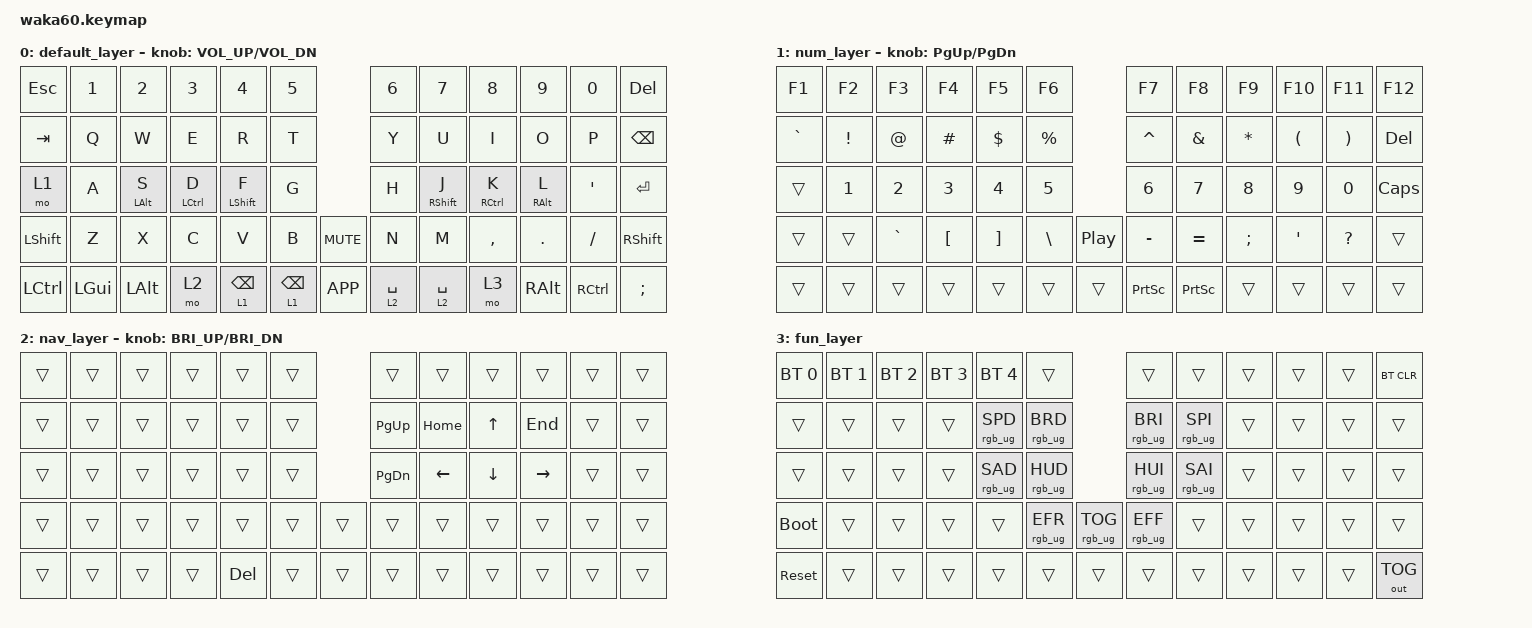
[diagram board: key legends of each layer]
//*
//  * Copyright (c) 2020 The ZMK Contributors
//  *
//  * SPDX-License-Identifier: MIT
//  */

#include <behaviors.dtsi>
#include <dt-bindings/zmk/bt.h>
#include <dt-bindings/zmk/keys.h>
#include <dt-bindings/zmk/outputs.h>
#include <dt-bindings/zmk/rgb.h>

&encoder { status = "okay"; };

/ {
    behaviors {
        ht: hold_tap {
            compatible = "zmk,behavior-hold-tap";
            #binding-cells = <2>;
            flavor = "balanced";
            tapping-term-ms = <200>;
            quick-tap-ms = <220>;
            require-prior-idle-ms = <125>;
            bindings = <&kp>, <&kp>;
        };
        mt: mod_tap {

            #binding-cells = <2>;
            flavor = "balanced";
            tapping-term-ms = <180>;
            quick-tap-ms = <100>;
            require-prior-idle-ms = <75>;
            retro-tap;
            bindings = <&kp>, <&kp>;
        };
        combos {
            compatible = "zmk,combos";
            combo_esc {
                 timeout-ms = <50>;
                 key-positions = <14 13>;
                 layers = <0>;
                 bindings = <&kp ESC>;
             };
             combo_tab {
                 timeout-ms = <50>;
                 key-positions = <25 14>;
                 layers = <0>;
                 bindings = <&kp TAB>;
             };
             combo_backspaceword {
                 timeout-ms = <50>;
                 key-positions = <32 31>;
                 layers = <0>;
                 bindings = <&kp RC(BSPC)>;
             };
             combo_caps {
                 timeout-ms = <50>;
                 key-positions = <48 36>;
                 layers = <0>;
                 bindings = <&kp CAPS>;
             };
             combo_caps1 {
                 timeout-ms = <50>;
                 key-positions = <28 31>;
                 layers = <0>;
                 bindings = <&kp CAPS>;
             };
        };
    };

    keymap {
        compatible = "zmk,keymap";

        default_layer {
            // layer 0 ----------------------------------------------------------------------------------------------------------------------------
            // |   ESC   |    1    |    2    |    3    |    4    |    5    |---------|    6    |    7    |    8    |    9    |    0    |  DELETE |
            // |   TAB   |    Q    |    W    |    E    |    R    |    T    |---------|    Y    |    U    |    I    |    O    |    P    |BACKSPACE|
            // |  Mo(1)  |    A    |  alt/S  |  ctrl/D |  shft/F |    G    |---------|    H    |  shft/J |  ctrl/K |  alt/L  |    '    |  ENTER  |
            // |  SHIFT  |    Z    |    X    |    C    |    V    |    B    |Vol+-mute|    N    |    M    |    ,    |    .    |    /    |  SHIFT  |
            // |  CTRL   |   WIN   |   ALT   |  Mo(2)  | L1/BSPC | L1/BSPC |  SPACE  | L2/SPC  | L2/SPC  |  Mo(3)  |   ALT   |   CTRL  |   CTRL  |

            bindings = <
&kp ESC     &kp N1    &kp N2      &kp N3       &kp N4        &kp N5                  &kp N6       &kp N7        &kp N8       &kp N9      &kp N0     &kp DEL
&kp TAB     &kp Q     &kp W       &kp E        &kp R         &kp T                   &kp Y        &kp U         &kp I        &kp O       &kp P      &kp BSPC
&mo 1       &kp A     &mt LALT S  &mt LCTRL D  &mt LSHIFT F  &kp G                   &kp H        &mt RSHIFT J  &mt RCTRL K  &mt RALT L  &kp APOS   &kp ENTER
&kp LSHIFT  &kp Z     &kp X       &kp C        &kp V         &kp B       &kp C_MUTE  &kp N        &kp M         &kp COMMA    &kp DOT     &kp SLASH  &kp RSHIFT
&kp LCTRL   &kp LGUI  &kp LALT    &mo 2        &lt 1 BSPC    &lt 1 BSPC  &kp K_APP   &lt 2 SPACE  &lt 2 SPACE   &mo 3        &kp RALT    &kp RCTRL  &kp SEMI
            >;

            sensor-bindings = <&inc_dec_kp C_VOL_UP C_VOL_DN>;
        };

        num_layer {
            // layer 1 ----------------------------------------------------------------------------------------------------------------------------
            // |   F1    |    F2   |    F3   |    F4   |    F5   |    F6   |---------|    F7   |    F8   |    F9   |   F10   |   F11   |   F12   |
            // |    `    |    !    |     @   |    #    |    $    |     %   |---------|    ^    |    &    |    *    |    (    |    )    |  DELETE |
            // |         |    1    |     2   |    3    |    4    |     5   |---------|    6    |    7    |    8    |    9    |    0    |         |
            // |         |         |   ~ `   |    {[   |    ]}   |    \    |MEDIA PP |    -    |    =    |    ;    |    '    |    ?    |         |
            // |         |         |         |         |         |         |         |         |         |         |         |         |         |

            bindings = <
&kp F1     &kp F2    &kp F3     &kp F4     &kp F5    &kp F6               &kp F7     &kp F8     &kp F9    &kp F10   &kp F11    &kp F12
&kp GRAVE  &kp EXCL  &kp AT     &kp POUND  &kp DLLR  &kp PRCNT            &kp CARET  &kp AMPS   &kp STAR  &kp LPAR  &kp RPAR   &kp DEL
&trans     &kp N1    &kp N2     &kp N3     &kp N4    &kp N5               &kp N6     &kp N7     &kp N8    &kp N9    &kp N0     &kp CAPS
&trans     &trans    &kp GRAVE  &kp LBKT   &kp RBKT  &kp BSLH   &kp C_PP  &kp MINUS  &kp EQUAL  &kp SEMI  &kp APOS  &kp QMARK  &trans
&trans     &trans    &trans     &trans     &trans    &trans     &trans    &kp PSCRN  &kp PSCRN  &trans    &trans    &trans     &trans
            >;

            sensor-bindings = <&inc_dec_kp PG_UP PG_DN>;
        };

        nav_layer {
            // layer 2 ----------------------------------------------------------------------------------------------------------------------------
            // |         |         |         |         |         |         |---------|         |         |         |         |         |         |
            // |         |         |         |         |         |         |---------|   PGUP  |  HOME   |    UP   |   END   |         |         |
            // |         |         |         |         |         |         |---------|   PGDN  |  LEFT   |   DOWN  |  RIGHT  |         |         |
            // |         |         |         |         |         |         | ENCODER |         |         |         |         |         |         |
            // |         |         |         |         |  DELETE |         |         |         |         |         |         |         |         |

            bindings = <
&trans  &trans  &trans  &trans  &trans  &trans          &trans     &trans    &trans    &trans     &trans  &trans
&trans  &trans  &trans  &trans  &trans  &trans          &kp PG_UP  &kp HOME  &kp UP    &kp END    &trans  &trans
&trans  &trans  &trans  &trans  &trans  &trans          &kp PG_DN  &kp LEFT  &kp DOWN  &kp RIGHT  &trans  &trans
&trans  &trans  &trans  &trans  &trans  &trans  &trans  &trans     &trans    &trans    &trans     &trans  &trans
&trans  &trans  &trans  &trans  &kp DEL &trans  &trans  &trans     &trans    &trans    &trans     &trans  &trans
            >;

            sensor-bindings = <&inc_dec_kp C_BRI_UP C_BRI_DN>;
        };

        fun_layer {
            // layer 3 ----------------------------------------------------------------------------------------------------------------------------
            // |  BT 0   |  BT 1   |  BT 2   |  BT 3   |  BT 4   |         |---------|         |         |         |         |         | BT CLEAR|
            // |         |         |         |         | RGBSPD- | RGBBRI- |---------| RGBBRI+ | RGBSPD+ |         |         |         |         |
            // |         |         |         |         | RGBSAT- | RGBHUE- |---------| RGBHUE+ | RGBSAT+ |         |         |         |         |
            // |  FLASH  |         |         |         |         | RGB PRV | RGB TOG | RGB NXT |         |         |         |         |         |
            // |  Reset  |         |         |         |         |         |         |         |         |         |         |         |OUTPT/TOG|

            bindings = <
&bt BT_SEL 0  &bt BT_SEL 1  &bt BT_SEL 2  &bt BT_SEL 3  &bt BT_SEL 4    &trans                           &trans          &trans          &trans  &trans  &trans  &bt BT_CLR
&trans        &trans        &trans        &trans        &rgb_ug RGB_SPD &rgb_ug RGB_BRD                  &rgb_ug RGB_BRI &rgb_ug RGB_SPI &trans  &trans  &trans  &trans
&trans        &trans        &trans        &trans        &rgb_ug RGB_SAD &rgb_ug RGB_HUD                  &rgb_ug RGB_HUI &rgb_ug RGB_SAI &trans  &trans  &trans  &trans
&bootloader   &trans        &trans        &trans        &trans          &rgb_ug RGB_EFR  &rgb_ug RGB_TOG &rgb_ug RGB_EFF &trans          &trans  &trans  &trans  &trans
&sys_reset    &trans        &trans        &trans        &trans          &trans           &trans          &trans          &trans          &trans  &trans  &trans  &out OUT_TOG
            >;         
        };
    };
};
  
